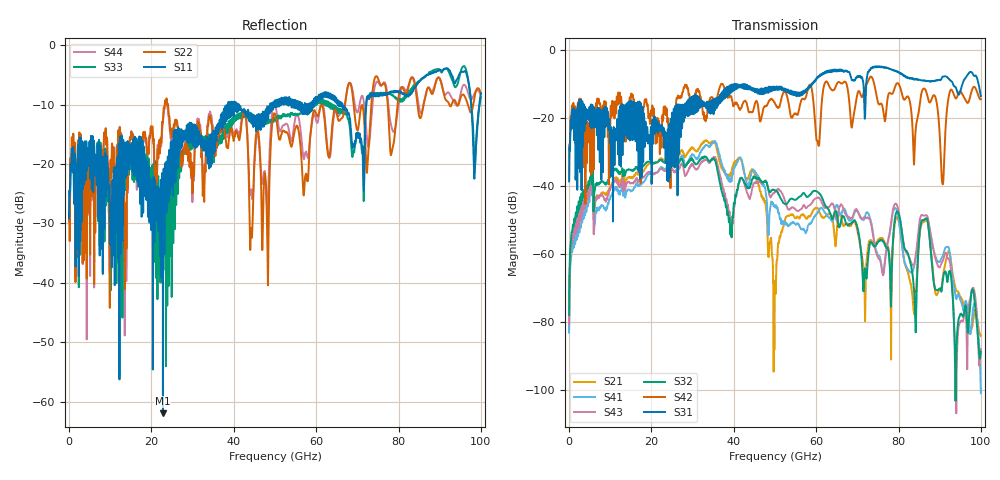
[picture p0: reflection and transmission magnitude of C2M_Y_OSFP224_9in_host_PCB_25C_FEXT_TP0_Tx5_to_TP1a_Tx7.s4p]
# GHz S RI R 45
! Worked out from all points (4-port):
!   4000 points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, 25 MHz to 100 GHz, reference 45 ohm
!   strongest paths, dB at 25 MHz, 25.02 GHz, 50.02 GHz, 75.03 GHz, 100 GHz:
!     S31: -38.8, -19.4, -11.1, -5.2, -13.7
!     S42: -38.2, -30.2, -15.9, -15.6, -14.6
!     S32: -78.0, -33.3, -41.5, -56.5, -88.8
!     S43: -80.8, -35.1, -41.9, -61.1, -88.0
!     S41: -83.2, -33.5, -46.4, -60.4, -101.0
!     S21: -80.9, -31.3, -68.1, -55.9, -84.1
!   lowest |S11| = -61.9 dB at 22.8 GHz (marker M1), VSWR 1.00, Z = 45.1 - j0.0186 ohm
!   |S11| at or under -10 dB: start of sweep to 38.65 GHz; 41.27 GHz to 48.85 GHz (7.586 GHz wide, 16.8 % of centre); 66.39 GHz to 72.17 GHz (5.775 GHz wide, 8.34 % of centre)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
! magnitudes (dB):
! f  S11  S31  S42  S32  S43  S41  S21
! 25 MHz  -29.1  -38.8  -38.2  -78.0  -80.8  -83.2  -80.9
! 5.35 GHz  -15.3  -16.2  -22.6  -36.2  -38.3  -39.5  -38.0
! 22.8 GHz  -61.9  -25.2  -20.9  -33.0  -35.4  -34.9  -32.4
! 44.7 GHz  -13.7  -11.8  -18.0  -37.6  -39.8  -35.3  -35.3
! 49.95 GHz  -9.9  -11.6  -15.7  -41.4  -41.9  -46.1  -71.2
! 86.6 GHz  -5.2  -9.1  -12.0  -49.7  -48.7  -49.8  -50.3
! 100 GHz  -8.1  -13.7  -14.6  -88.8  -88.0  -101.0  -84.1
